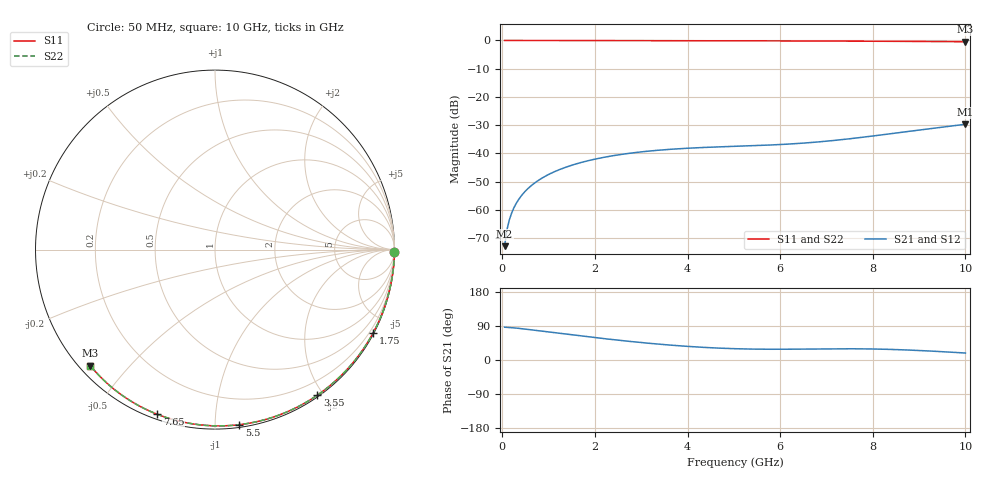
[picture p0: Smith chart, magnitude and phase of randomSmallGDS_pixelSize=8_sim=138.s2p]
! freq	dB(S11)	phase(S11)	dB(S12)	phase(S12)
!  dB(S21)	phase(S21)	dB(S22)	phase(S22)
!S-par simulation data
#  GHz  S  DB  R 50
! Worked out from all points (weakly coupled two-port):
!   200 points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, 50 MHz to 10 GHz, reference 50 ohm
!   highest |S21| = -29.67 dB at 10 GHz (marker M1); lowest = -72.8 dB at 50 MHz (marker M2)
!   lowest |S11| = -0.5 dB at 10 GHz (marker M3), VSWR 38.23, Z = 1.51 - j19.6 ohm
!   |S11| at or under -10 dB: nowhere
!   |S22| runs from -0.5 to 0.0 dB; largest |S21 - S12| = 0
!   S11 on the Smith chart (normalised r, x): 50 MHz: open; 1.75 GHz: 0.04, -4.05; 3.55 GHz: 0.02, -1.93; 5.5 GHz: 0.02, -1.15; 7.65 GHz: 0.02, -0.71; 10 GHz: 0.03, -0.39
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0.05  -0.00 -0.8  -72.81 86.6  -72.81 86.6  -0.00 -0.8
0.1  -0.00 -1.6  -67.05 86.1  -67.05 86.1  -0.00 -1.6
0.15  -0.00 -2.4  -63.62 85.9  -63.62 85.9  -0.00 -2.4
0.2  -0.00 -3.2  -61.17 85.4  -61.17 85.4  -0.00 -3.2
0.25  -0.00 -4.0  -59.25 84.9  -59.25 84.9  -0.00 -4.0
0.35  -0.00 -5.6  -56.36 83.6  -56.36 83.6  -0.00 -5.6
0.5  -0.01 -8.0  -53.30 81.5  -53.30 81.5  -0.01 -8.0
0.7  -0.01 -11.2  -50.43 78.5  -50.43 78.5  -0.01 -11.2
1  -0.02 -16.0  -47.44 73.9  -47.44 73.9  -0.02 -16.0
1.35  -0.03 -21.5  -44.99 68.6  -44.99 68.6  -0.03 -21.5
1.75  -0.04 -27.8  -42.99 62.7  -42.99 62.7  -0.04 -27.8
2.5  -0.05 -39.3  -40.51 52.3  -40.51 52.3  -0.05 -39.3
3.4  -0.07 -52.7  -38.81 41.6  -38.81 41.6  -0.07 -52.7
3.55  -0.07 -54.9  -38.62 40.1  -38.62 40.1  -0.07 -54.9
4.3  -0.09 -65.6  -37.91 33.7  -37.91 33.7  -0.09 -65.6
5.05  -0.12 -76.0  -37.45 29.7  -37.45 29.7  -0.12 -76.0
5.5  -0.13 -82.0  -37.20 28.6  -37.20 28.6  -0.13 -82.0
6.7  -0.19 -97.6  -36.08 29.1  -36.08 29.1  -0.19 -97.6
7.65  -0.24 -109.3  -34.52 29.6  -34.52 29.6  -0.24 -109.3
8.35  -0.30 -117.8  -33.09 28.1  -33.09 28.1  -0.30 -117.7
9.2  -0.37 -127.8  -31.30 23.9  -31.30 23.9  -0.37 -127.8
10  -0.45 -137.1  -29.67 18.4  -29.67 18.4  -0.45 -137.1
